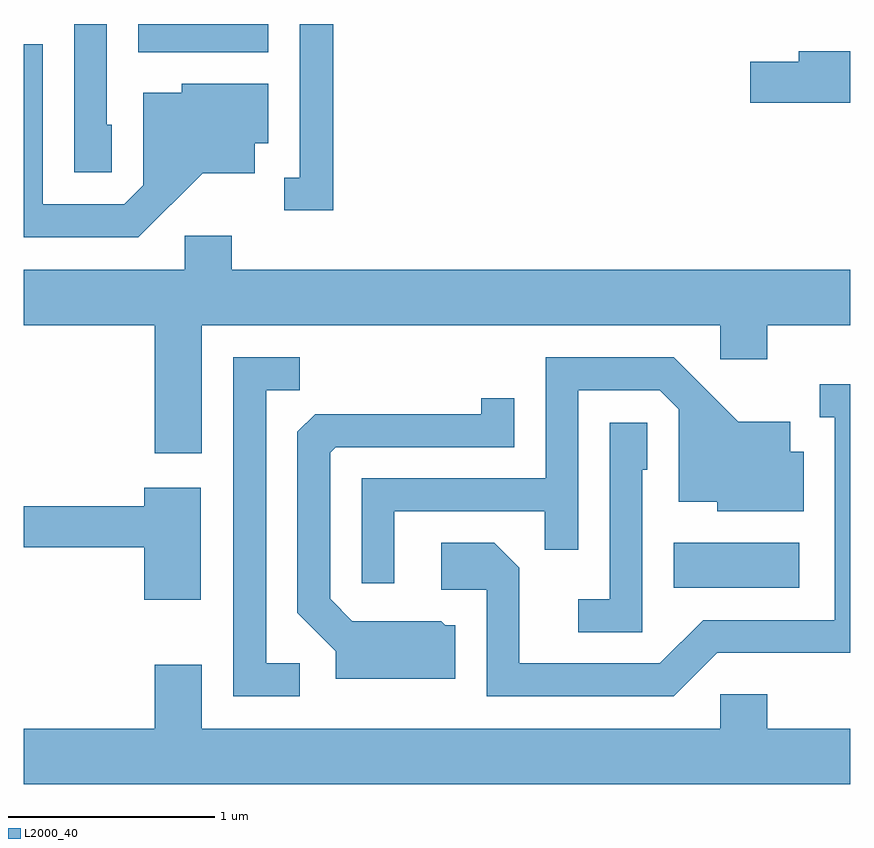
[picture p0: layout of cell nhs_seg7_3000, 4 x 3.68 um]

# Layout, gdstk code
import gdstk
lib = gdstk.Library(unit=1e-6, precision=1e-09)
def R(c, l, rs):  # rectangles x0, y0, x1, y1
    for r in rs: c.add(gdstk.rectangle(r[:2], r[2:], *l))
def P(c, l, *ps):  # polygons
    for p in ps: c.add(gdstk.Polygon(p, *l))
L2000_40 = (2000, 40)

nhs_seg7_3000 = lib.new_cell('nhs_seg7_3000')
R(nhs_seg7_3000, L2000_40, [(280.756,1677.526,281.364,1677.744), (278.166,1680.116,278.794,1680.252)])
P(nhs_seg7_3000, L2000_40, [(279.109,1680.252),(278.946,1680.252),(278.946,1679.509),(278.873,1679.509),(278.873,1679.351),(279.109,1679.351)],
  [(278.039,1679.764),(278.014,1679.764),(278.014,1680.252),(277.856,1680.252),(277.856,1679.536),(278.039,1679.536)],
  [(278.477,1679.531),(278.729,1679.531),(278.729,1679.676),(278.794,1679.676),(278.794,1679.964),(278.376,1679.964),(278.376,1679.919),(278.191,1679.919),(278.191,1679.472),(278.099,1679.379),(277.704,1679.379),(277.704,1680.153),(277.611,1680.153),(277.611,1679.221),(278.167,1679.221)],
  [(281.611,1680.119),(281.361,1680.119),(281.361,1680.069),(281.126,1680.069),(281.126,1679.871),(281.611,1679.871)],
  [(278.474,1678.796),(280.981,1678.796),(280.981,1678.631),(281.209,1678.631),(281.209,1678.796),(281.611,1678.796),(281.611,1679.064),(278.619,1679.064),(278.619,1679.229),(278.391,1679.229),(278.391,1679.064),(277.611,1679.064),(277.611,1678.796),(278.246,1678.796),(278.246,1678.176),(278.474,1678.176)],
  [(278.948,1677.159),(278.784,1677.159),(278.784,1678.481),(278.948,1678.481),(278.948,1678.639),(278.626,1678.639),(278.626,1677.001),(278.948,1677.001)],
  [(279.404,1677.896),(280.131,1677.896),(280.131,1677.708),(280.294,1677.708),(280.294,1678.481),(280.689,1678.481),(280.781,1678.389),(280.781,1677.941),(280.966,1677.941),(280.966,1677.896),(281.384,1677.896),(281.384,1678.184),(281.319,1678.184),(281.319,1678.329),(281.067,1678.329),(280.757,1678.639),(280.136,1678.639),(280.136,1678.054),(279.246,1678.054),(279.246,1677.548),(279.404,1677.548)],
  [(280.967,1677.211),(281.611,1677.211),(281.611,1678.509),(281.463,1678.509),(281.463,1678.351),(281.536,1678.351),(281.536,1677.369),(280.899,1677.369),(280.689,1677.159),(280.009,1677.159),(280.009,1677.622),(279.887,1677.744),(279.631,1677.744),(279.631,1677.516),(279.851,1677.516),(279.851,1677.001),(280.757,1677.001)],
  [(279.699,1677.344),(279.652,1677.344),(279.632,1677.364),(279.202,1677.364),(279.094,1677.472),(279.094,1678.179),(279.122,1678.206),(279.984,1678.206),(279.984,1678.443),(279.826,1678.443),(279.826,1678.364),(279.022,1678.364),(278.936,1678.279),(278.936,1677.404),(279.121,1677.219),(279.121,1677.086),(279.699,1677.086)],
  [(280.604,1678.096),(280.629,1678.096),(280.629,1678.324),(280.446,1678.324),(280.446,1677.469),(280.293,1677.469),(280.293,1677.311),(280.604,1677.311)],
  [(278.469,1678.009),(278.196,1678.009),(278.196,1677.919),(277.611,1677.919),(277.611,1677.721),(278.196,1677.721),(278.196,1677.466),(278.469,1677.466)],
  [(281.611,1676.844),(281.209,1676.844),(281.209,1677.009),(280.981,1677.009),(280.981,1676.844),(278.474,1676.844),(278.474,1677.154),(278.246,1677.154),(278.246,1676.844),(277.611,1676.844),(277.611,1676.576),(281.611,1676.576)])

lib.write_gds('nhs_seg7_3000.gds')
